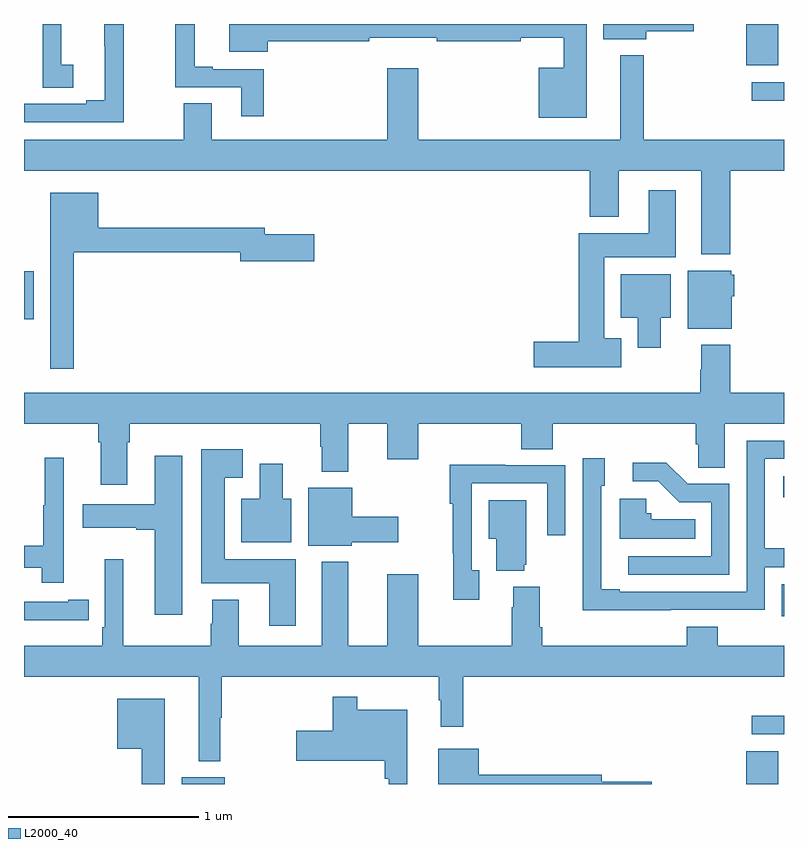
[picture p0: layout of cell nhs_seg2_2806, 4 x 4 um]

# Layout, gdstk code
import gdstk
lib = gdstk.Library(unit=1e-6, precision=1e-09)
def R(c, l, rs):  # rectangles x0, y0, x1, y1
    for r in rs: c.add(gdstk.rectangle(r[:2], r[2:], *l))
def P(c, l, *ps):  # polygons
    for p in ps: c.add(gdstk.Polygon(p, *l))
L2000_40 = (2000, 40)

nhs_seg2_2806 = lib.new_cell('nhs_seg2_2806')
R(nhs_seg2_2806, L2000_40, [(259.829,585.8,260.056,585.835), (262.802,585.8,262.969,585.973), (262.83,586.062,263,586.16), (262.989,586.683,263,586.851), (262.995,587.309,263,587.419), (259,588.245,259.051,588.499), (262.83,589.397,263,589.494), (262.802,589.583,262.969,589.8)])
P(nhs_seg2_2806, L2000_40, [(262.276,589.763),(262.525,589.763),(262.525,589.8),(262.049,589.8),(262.049,589.721),(262.276,589.721)],
  [(261.961,589.8),(260.081,589.8),(260.081,589.655),(260.284,589.655),(260.284,589.708),(260.816,589.708),(260.816,589.727),(261.172,589.727),(261.172,589.708),(261.614,589.708),(261.614,589.727),(261.84,589.727),(261.84,589.57),(261.71,589.57),(261.71,589.307),(261.961,589.307)],
  [(259.258,589.585),(259.197,589.585),(259.197,589.8),(259.098,589.8),(259.098,589.465),(259.258,589.465)],
  [(260.261,589.563),(259.993,589.563),(259.993,589.576),(259.898,589.576),(259.898,589.8),(259.795,589.8),(259.795,589.467),(260.144,589.467),(260.144,589.314),(260.261,589.314)],
  [(259.526,589.8),(259.423,589.8),(259.423,589.683),(259.424,589.683),(259.424,589.4),(259.328,589.4),(259.328,589.38),(259,589.38),(259,589.284),(259.526,589.284)],
  [(262.718,589.028),(263,589.028),(263,589.192),(262.261,589.192),(262.261,589.636),(262.139,589.636),(262.139,589.192),(261.076,589.192),(261.076,589.567),(260.912,589.567),(260.912,589.192),(259.987,589.192),(259.987,589.382),(259.84,589.382),(259.84,589.192),(259,589.192),(259,589.028),(261.977,589.028),(261.977,588.785),(262.129,588.785),(262.129,589.028),(262.565,589.028),(262.565,588.587),(262.718,588.587)],
  [(262.144,588.145),(262.054,588.145),(262.054,588.572),(262.429,588.572),(262.429,588.925),(262.289,588.925),(262.289,588.7),(261.92,588.7),(261.92,588.128),(261.684,588.128),(261.684,587.993),(262.144,587.993)],
  [(259.261,588.598),(260.138,588.598),(260.138,588.551),(260.527,588.551),(260.527,588.693),(260.266,588.693),(260.266,588.727),(259.39,588.727),(259.39,588.913),(259.139,588.913),(259.139,587.985),(259.261,587.985)],
  [(262.726,588.366),(262.738,588.366),(262.738,588.48),(262.722,588.48),(262.722,588.502),(262.493,588.502),(262.493,588.197),(262.726,588.197)],
  [(262.351,588.254),(262.405,588.254),(262.405,588.484),(262.142,588.484),(262.142,588.254),(262.229,588.254),(262.229,588.096),(262.351,588.096)],
  [(259.543,587.6),(259.556,587.6),(259.556,587.696),(260.56,587.696),(260.56,587.576),(260.567,587.576),(260.567,587.444),(260.707,587.444),(260.707,587.696),(260.912,587.696),(260.912,587.508),(261.076,587.508),(261.076,587.696),(261.617,587.696),(261.617,587.563),(261.782,587.563),(261.782,587.696),(262.535,587.696),(262.535,587.587),(262.548,587.587),(262.548,587.464),(262.687,587.464),(262.687,587.696),(263,587.696),(263,587.86),(262.718,587.86),(262.718,588.112),(262.565,588.112),(262.565,587.981),(262.558,587.981),(262.558,587.86),(259,587.86),(259,587.696),(259.391,587.696),(259.391,587.6),(259.403,587.6),(259.403,587.376),(259.543,587.376)],
  [(262.403,586.716),(262.899,586.716),(262.899,586.941),(263,586.941),(263,587.042),(262.899,587.042),(262.899,587.511),(263,587.511),(263,587.607),(262.803,587.607),(262.803,586.812),(262.135,586.812),(262.135,586.825),(262.038,586.825),(262.038,587.37),(262.057,587.37),(262.057,587.515),(261.942,587.515),(261.942,587.021),(261.94,587.021),(261.94,586.715),(262.403,586.715)],
  [(260.431,586.984),(260.056,586.984),(260.056,587.411),(260.152,587.411),(260.152,587.563),(259.934,587.563),(259.934,586.856),(260.291,586.856),(260.291,586.632),(260.431,586.632)],
  [(259.834,587.527),(259.688,587.527),(259.688,587.272),(259.308,587.272),(259.308,587.15),(259.592,587.15),(259.592,587.138),(259.688,587.138),(259.688,586.692),(259.834,586.692)],
  [(259.209,587.518),(259.108,587.518),(259.108,587.268),(259.101,587.268),(259.101,587.054),(259,587.054),(259,586.938),(259.093,586.938),(259.093,586.86),(259.209,586.86)],
  [(262.713,587.379),(262.494,587.379),(262.381,587.492),(262.203,587.492),(262.203,587.394),(262.337,587.394),(262.448,587.283),(262.617,587.283),(262.617,586.998),(262.179,586.998),(262.179,586.902),(262.713,586.902)],
  [(260.407,587.302),(260.362,587.302),(260.362,587.485),(260.24,587.485),(260.24,587.302),(260.144,587.302),(260.144,587.072),(260.407,587.072)],
  [(261.397,586.926),(261.357,586.926),(261.357,587.382),(261.753,587.382),(261.753,587.109),(261.849,587.109),(261.849,587.478),(261.533,587.478),(261.533,587.48),(261.241,587.48),(261.241,587.275),(261.256,587.275),(261.256,587.014),(261.26,587.014),(261.26,586.77),(261.397,586.77)],
  [(260.724,587.072),(260.971,587.072),(260.971,587.207),(260.728,587.207),(260.728,587.359),(260.495,587.359),(260.495,587.054),(260.724,587.054)],
  [(262.532,587.194),(262.302,587.194),(262.302,587.226),(262.275,587.226),(262.275,587.302),(262.136,587.302),(262.136,587.09),(262.532,587.09)],
  [(261.632,586.953),(261.643,586.953),(261.643,587.293),(261.446,587.293),(261.446,587.09),(261.485,587.09),(261.485,586.922),(261.632,586.922)],
  [(260.033,586.148),(260.041,586.148),(260.041,586.364),(261.183,586.364),(261.183,586.241),(261.194,586.241),(261.194,586.101),(261.311,586.101),(261.311,586.364),(263,586.364),(263,586.528),(262.652,586.528),(262.652,586.627),(262.487,586.627),(262.487,586.528),(261.728,586.528),(261.728,586.624),(261.715,586.624),(261.715,586.837),(261.575,586.837),(261.575,586.73),(261.568,586.73),(261.568,586.528),(261.076,586.528),(261.076,586.903),(260.912,586.903),(260.912,586.528),(260.707,586.528),(260.707,586.969),(260.567,586.969),(260.567,586.528),(260.131,586.528),(260.131,586.771),(259.991,586.771),(259.991,586.644),(259.984,586.644),(259.984,586.528),(259.522,586.528),(259.522,586.984),(259.425,586.984),(259.425,586.624),(259.412,586.624),(259.412,586.528),(259,586.528),(259,586.364),(259.919,586.364),(259.919,585.92),(260.033,585.92)],
  [(259.232,586.662),(259.34,586.662),(259.34,586.771),(259.232,586.771),(259.232,586.758),(259,586.758),(259,586.661),(259.232,586.661)],
  [(261.016,586.192),(260.755,586.192),(260.755,586.258),(260.626,586.258),(260.626,586.081),(260.433,586.081),(260.433,585.923),(260.899,585.923),(260.899,585.827),(260.919,585.827),(260.919,585.8),(261.016,585.8)],
  [(259.741,586.249),(259.49,586.249),(259.49,585.986),(259.62,585.986),(259.62,585.8),(259.741,585.8)],
  [(262.303,585.812),(262.042,585.812),(262.042,585.848),(261.394,585.848),(261.394,585.985),(261.179,585.985),(261.179,585.8),(262.303,585.8)])

lib.write_gds('nhs_seg2_2806.gds')
